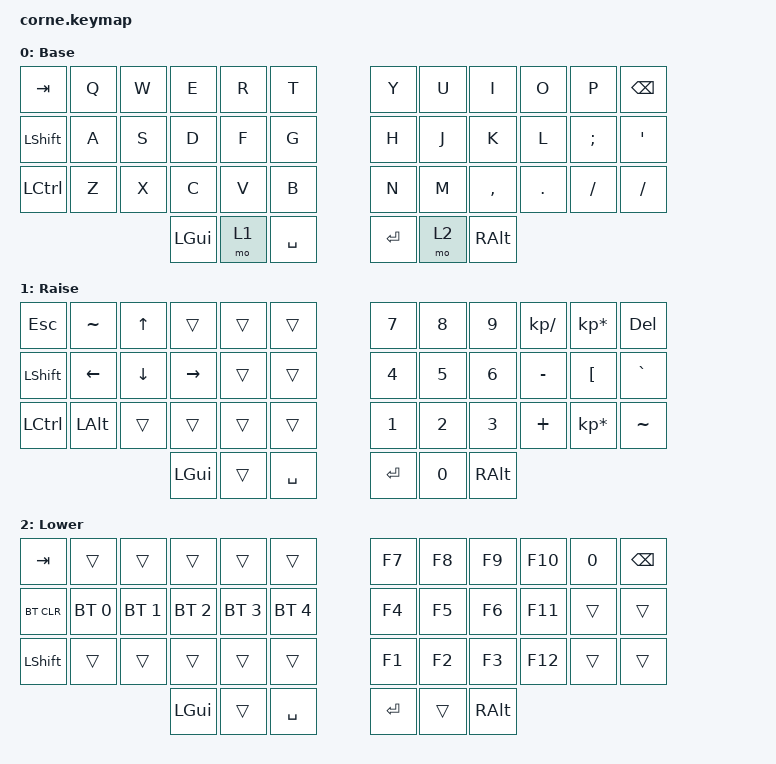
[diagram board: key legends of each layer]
/*
 * Copyright (c) 2020 The ZMK Contributors
 *
 * SPDX-License-Identifier: MIT
 */

#include <behaviors.dtsi>
#include <dt-bindings/zmk/bt.h>
#include <dt-bindings/zmk/keys.h>

/ {
    keymap {
        compatible = "zmk,keymap";

        default_layer {
            // -----------------------------------------------------------------------------------------
            // |  TAB |  Q  |  W  |  E  |  R  |  T  |   |  Y  |  U   |  I  |  O  |  P  | BKSP |
            // | CTRL |  A  |  S  |  D  |  F  |  G  |   |  H  |  J   |  K  |  L  |  ;  |  '   |
            // | SHFT |  Z  |  X  |  C  |  V  |  B  |   |  N  |  M   |  ,  |  .  |  /  | ESC  |
            //                    | GUI | LWR | SPC |   | ENT | RSE  | ALT |

            display-name = "Base";
            bindings = <
&kp TAB         &kp Q  &kp W  &kp E     &kp R  &kp T        &kp Y    &kp U  &kp I      &kp O    &kp P     &kp BSPC
&kp LEFT_SHIFT  &kp A  &kp S  &kp D     &kp F  &kp G        &kp H    &kp J  &kp K      &kp L    &kp SEMI  &kp SQT
&kp LCTRL       &kp Z  &kp X  &kp C     &kp V  &kp B        &kp N    &kp M  &kp COMMA  &kp DOT  &kp FSLH  &kp SLASH
                              &kp LGUI  &mo 1  &kp SPACE    &kp RET  &mo 2  &kp RALT
            >;
        };

        raise_layer {
            // -----------------------------------------------------------------------------------------
            // |  TAB |  !  |  @  |  #  |  $  |  %  |   |  ^  |  &  |  *  |  (  |  )  | BKSP |
            // | CTRL |     |     |     |     |     |   |  -  |  =  |  [  |  ]  |  \  |  `   |
            // | SHFT |     |     |     |     |     |   |  _  |  +  |  {  |  }  | "|" |  ~   |
            //                    | GUI |     | SPC |   | ENT |     | ALT |

            display-name = "Raise";
            bindings = <
&kp ESC         &kp TILDE     &kp UP_ARROW    &trans     &trans  &trans       &kp N7   &kp N8  &kp N9        &kp KP_DIVIDE  &kp KP_MULTIPLY   &kp DELETE
&kp LEFT_SHIFT  &kp LEFT      &kp DOWN_ARROW  &kp RIGHT  &trans  &trans       &kp N4   &kp N5  &kp NUMBER_6  &kp MINUS      &kp LEFT_BRACKET  &kp GRAVE
&kp LCTRL       &kp LEFT_ALT  &trans          &trans     &trans  &trans       &kp N1   &kp N2  &kp N3        &kp PLUS       &kp KP_ASTERISK   &kp TILDE
                                              &kp LGUI   &trans  &kp SPACE    &kp RET  &kp N0  &kp RALT
            >;
        };

        layer_3 {
            display-name = "Lower";
            bindings = <
&kp TAB     &trans        &trans        &trans        &trans        &trans          &kp F7   &kp F8  &kp F9    &kp F10  &kp N0  &kp BSPC
&bt BT_CLR  &bt BT_SEL 0  &bt BT_SEL 1  &bt BT_SEL 2  &bt BT_SEL 3  &bt BT_SEL 4    &kp F4   &kp F5  &kp F6    &kp F11  &trans  &trans
&kp LSHFT   &trans        &trans        &trans        &trans        &trans          &kp F1   &kp F2  &kp F3    &kp F12  &trans  &trans
                                        &kp LGUI      &trans        &kp SPACE       &kp RET  &trans  &kp RALT
            >;
        };
    };
};
